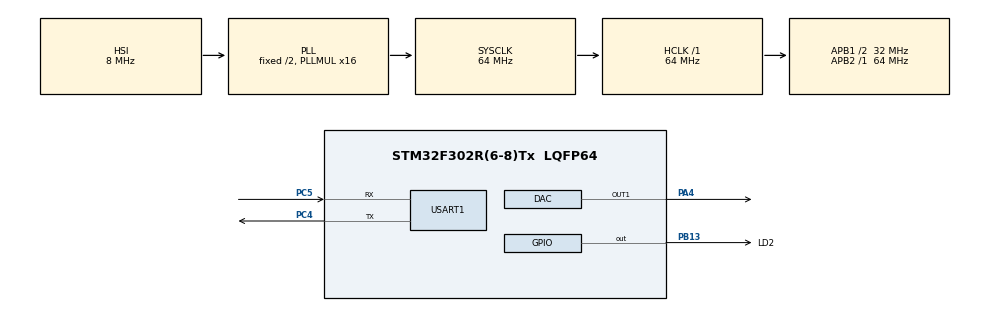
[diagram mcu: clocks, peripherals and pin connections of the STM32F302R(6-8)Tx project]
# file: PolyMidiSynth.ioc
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DAC.DAC_Trigger=DAC_TRIGGER_NONE
Mcu.Family=STM32F3
Mcu.Name=STM32F302R(6-8)Tx
Mcu.Package=LQFP64
NVIC.PriorityGroup=NVIC_PRIORITYGROUP_4
NVIC.TIM2_IRQn=true\:0\:0\:false\:false\:true\:true\:true
NVIC.USART1_IRQn=true\:0\:0\:false\:false\:true\:true\:true
PA4.Signal=COMP_DAC1_group
PB13.GPIO_Label=LD2
PB13.Signal=GPIO_Output
PC4.Mode=Asynchronous
PC4.Signal=USART1_TX
PC5.Mode=Asynchronous
PC5.Signal=USART1_RX
ProjectManager.HeapSize=0x200
ProjectManager.StackSize=0x400
ProjectManager.TargetToolchain=STM32CubeIDE
RCC.AHBFreq_Value=64000000
RCC.APB1CLKDivider=RCC_HCLK_DIV2
RCC.APB1Freq_Value=32000000
RCC.APB1TimFreq_Value=64000000
RCC.APB2Freq_Value=64000000
RCC.APB2TimFreq_Value=64000000
RCC.CortexFreq_Value=64000000
RCC.HCLKFreq_Value=64000000
RCC.HSE_VALUE=8000000
RCC.HSI_VALUE=8000000
RCC.LSE_VALUE=32768
RCC.PLLMUL=RCC_PLL_MUL16
RCC.SYSCLKFreq_VALUE=64000000
RCC.SYSCLKSourceVirtual=RCC_SYSCLKSOURCE_PLLCLK
RCC.USBFreq_Value=64000000
SH.COMP_DAC1_group.0=DAC_OUT1,DAC_OUT1
TIM2.Period=1600
USART1.VirtualMode-Asynchronous=VM_ASYNC
VP_TIM2_VS_ClockSourceINT.Mode=Internal
board=custom

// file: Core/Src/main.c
/* USER CODE BEGIN Header */
/**
  ******************************************************************************
  * @file           : main.c
  * @brief          : Main program body
  ******************************************************************************
  * @attention
  *
  * <h2><center>&copy; Copyright (c) 2020 STMicroelectronics.
  * All rights reserved.</center></h2>
  *
  * This software component is licensed by ST under BSD 3-Clause license,
  * the "License"; You may not use this file except in compliance with the
  * License. You may obtain a copy of the License at:
  *                        opensource.org/licenses/BSD-3-Clause
  *
  ******************************************************************************
  */
/* USER CODE END Header */

#include "main.h"

/* USER CODE BEGIN Includes */
#include <math.h>
#include "voice.h"
#include "midi.h"
#include "midi_callbacks.h"
/* USER CODE END Includes */

DAC_HandleTypeDef hdac;

TIM_HandleTypeDef htim2;

UART_HandleTypeDef huart1;

void SystemClock_Config(void);
static void MX_GPIO_Init(void);
static void MX_DAC_Init(void);
static void MX_TIM2_Init(void);
static void MX_USART1_UART_Init(void);

/* USER CODE BEGIN 0 */

uint8_t Rx_data[1];  //  creating a buffer of 1 byte

struct voice voices[VOICE_TOTAL];

/* USER CODE END 0 */

int main(void)
{

  /* MCU Configuration--------------------------------------------------------*/

  /* Reset of all peripherals, Initializes the Flash interface and the Systick. */
  HAL_Init();

  /* Configure the system clock */
  SystemClock_Config();

  /* Initialize all configured peripherals */
  MX_GPIO_Init();
  MX_DAC_Init();
  MX_TIM2_Init();
  MX_USART1_UART_Init();
  /* USER CODE BEGIN 2 */

  //HAL_DAC_MspInit(&hdac);
  //HAL_TIM_Base_MspInit(&htim2);

  HAL_DAC_Start(&hdac, DAC_CHANNEL_1);

  //Initialize voices

  for(int i = 0; i < VOICE_TOTAL; i++) {
	  voices[i].state = 0;
  }

  HAL_TIM_Base_Start_IT(&htim2);

  midi_init();

  midi_register_event_handler(EVT_CHAN_NOTE_ON, &note_on);
  midi_register_event_handler(EVT_CHAN_NOTE_OFF, &note_off);

  HAL_UART_Receive_IT(&huart1, Rx_data, sizeof(Rx_data));

  /* USER CODE END 2 */

  /* Infinite loop */
  while (1)
  {

  }
}

void SystemClock_Config(void)
{
  RCC_OscInitTypeDef RCC_OscInitStruct = {0};
  RCC_ClkInitTypeDef RCC_ClkInitStruct = {0};
  RCC_PeriphCLKInitTypeDef PeriphClkInit = {0};

  /** Initializes the CPU, AHB and APB busses clocks
  */
  RCC_OscInitStruct.OscillatorType = RCC_OSCILLATORTYPE_HSI;
  RCC_OscInitStruct.HSIState = RCC_HSI_ON;
  RCC_OscInitStruct.HSICalibrationValue = RCC_HSICALIBRATION_DEFAULT;
  RCC_OscInitStruct.PLL.PLLState = RCC_PLL_ON;
  RCC_OscInitStruct.PLL.PLLSource = RCC_PLLSOURCE_HSI;
  RCC_OscInitStruct.PLL.PLLMUL = RCC_PLL_MUL16;
  if (HAL_RCC_OscConfig(&RCC_OscInitStruct) != HAL_OK)
  {
    Error_Handler();
  }
  /** Initializes the CPU, AHB and APB busses clocks
  */
  RCC_ClkInitStruct.ClockType = RCC_CLOCKTYPE_HCLK|RCC_CLOCKTYPE_SYSCLK
                              |RCC_CLOCKTYPE_PCLK1|RCC_CLOCKTYPE_PCLK2;
  RCC_ClkInitStruct.SYSCLKSource = RCC_SYSCLKSOURCE_PLLCLK;
  RCC_ClkInitStruct.AHBCLKDivider = RCC_SYSCLK_DIV1;
  RCC_ClkInitStruct.APB1CLKDivider = RCC_HCLK_DIV2;
  RCC_ClkInitStruct.APB2CLKDivider = RCC_HCLK_DIV1;

  if (HAL_RCC_ClockConfig(&RCC_ClkInitStruct, FLASH_LATENCY_2) != HAL_OK)
  {
    Error_Handler();
  }
  PeriphClkInit.PeriphClockSelection = RCC_PERIPHCLK_USART1;
  PeriphClkInit.Usart1ClockSelection = RCC_USART1CLKSOURCE_PCLK1;
  if (HAL_RCCEx_PeriphCLKConfig(&PeriphClkInit) != HAL_OK)
  {
    Error_Handler();
  }
}

static void MX_DAC_Init(void)
{

  DAC_ChannelConfTypeDef sConfig = {0};

  /** DAC Initialization
  */
  hdac.Instance = DAC;
  if (HAL_DAC_Init(&hdac) != HAL_OK)
  {
    Error_Handler();
  }
  /** DAC channel OUT1 config
  */
  sConfig.DAC_Trigger = DAC_TRIGGER_NONE;
  sConfig.DAC_OutputBuffer = DAC_OUTPUTBUFFER_ENABLE;
  if (HAL_DAC_ConfigChannel(&hdac, &sConfig, DAC_CHANNEL_1) != HAL_OK)
  {
    Error_Handler();
  }

}

static void MX_TIM2_Init(void)
{

  TIM_ClockConfigTypeDef sClockSourceConfig = {0};
  TIM_MasterConfigTypeDef sMasterConfig = {0};

  htim2.Instance = TIM2;
  htim2.Init.Prescaler = 0;
  htim2.Init.CounterMode = TIM_COUNTERMODE_UP;
  htim2.Init.Period = 1600;
  htim2.Init.ClockDivision = TIM_CLOCKDIVISION_DIV1;
  htim2.Init.AutoReloadPreload = TIM_AUTORELOAD_PRELOAD_DISABLE;
  if (HAL_TIM_Base_Init(&htim2) != HAL_OK)
  {
    Error_Handler();
  }
  sClockSourceConfig.ClockSource = TIM_CLOCKSOURCE_INTERNAL;
  if (HAL_TIM_ConfigClockSource(&htim2, &sClockSourceConfig) != HAL_OK)
  {
    Error_Handler();
  }
  sMasterConfig.MasterOutputTrigger = TIM_TRGO_RESET;
  sMasterConfig.MasterSlaveMode = TIM_MASTERSLAVEMODE_DISABLE;
  if (HAL_TIMEx_MasterConfigSynchronization(&htim2, &sMasterConfig) != HAL_OK)
  {
    Error_Handler();
  }

}

static void MX_USART1_UART_Init(void)
{

  huart1.Instance = USART1;
  huart1.Init.BaudRate = 38400;
  huart1.Init.WordLength = UART_WORDLENGTH_8B;
  huart1.Init.StopBits = UART_STOPBITS_1;
  huart1.Init.Parity = UART_PARITY_NONE;
  huart1.Init.Mode = UART_MODE_TX_RX;
  huart1.Init.HwFlowCtl = UART_HWCONTROL_NONE;
  huart1.Init.OverSampling = UART_OVERSAMPLING_16;
  huart1.Init.OneBitSampling = UART_ONE_BIT_SAMPLE_DISABLE;
  huart1.AdvancedInit.AdvFeatureInit = UART_ADVFEATURE_NO_INIT;
  if (HAL_UART_Init(&huart1) != HAL_OK)
  {
    Error_Handler();
  }

}

static void MX_GPIO_Init(void)
{
  GPIO_InitTypeDef GPIO_InitStruct = {0};

  /* GPIO Ports Clock Enable */
  __HAL_RCC_GPIOA_CLK_ENABLE();
  __HAL_RCC_GPIOC_CLK_ENABLE();
  __HAL_RCC_GPIOB_CLK_ENABLE();

  /*Configure GPIO pin Output Level */
  HAL_GPIO_WritePin(LD2_GPIO_Port, LD2_Pin, GPIO_PIN_RESET);

  /*Configure GPIO pin : LD2_Pin */
  GPIO_InitStruct.Pin = LD2_Pin;
  GPIO_InitStruct.Mode = GPIO_MODE_OUTPUT_PP;
  GPIO_InitStruct.Pull = GPIO_NOPULL;
  GPIO_InitStruct.Speed = GPIO_SPEED_FREQ_LOW;
  HAL_GPIO_Init(LD2_GPIO_Port, &GPIO_InitStruct);

}

/* USER CODE BEGIN 4 */

void HAL_UART_RxCpltCallback(UART_HandleTypeDef *huart)
{
	midi_receive_byte(Rx_data[0]);
	HAL_UART_Receive_IT(&huart1, Rx_data, sizeof(Rx_data));
}

/* USER CODE END 4 */

void Error_Handler(void)
{
}

/************************ (C) COPYRIGHT STMicroelectronics *****END OF FILE****/
